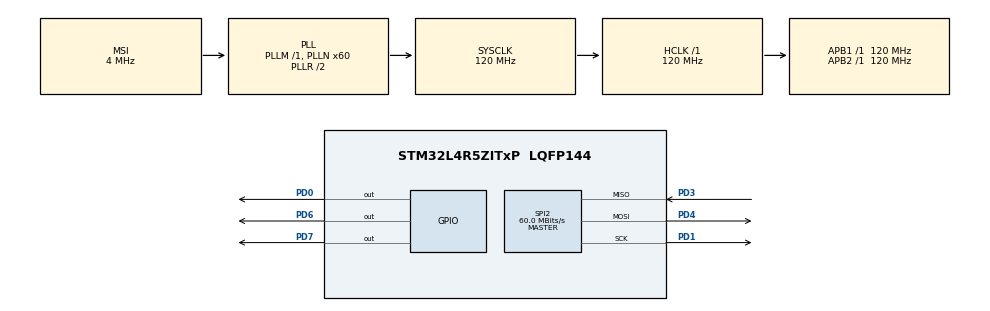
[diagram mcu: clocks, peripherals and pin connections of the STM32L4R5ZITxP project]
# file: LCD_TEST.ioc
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Mcu.Family=STM32L4
Mcu.Name=STM32L4R5ZITxP
Mcu.Package=LQFP144
NVIC.PriorityGroup=NVIC_PRIORITYGROUP_4
PD0.Signal=GPIO_Output
PD1.Mode=Full_Duplex_Master
PD1.Signal=SPI2_SCK
PD3.Mode=Full_Duplex_Master
PD3.Signal=SPI2_MISO
PD4.Mode=Full_Duplex_Master
PD4.Signal=SPI2_MOSI
PD6.Signal=GPIO_Output
PD7.Signal=GPIO_Output
ProjectManager.HeapSize=0x200
ProjectManager.StackSize=0x400
ProjectManager.TargetToolchain=STM32CubeIDE
RCC.ADCFreq_Value=16000000
RCC.AHBFreq_Value=120000000
RCC.APB1Freq_Value=120000000
RCC.APB1TimFreq_Value=120000000
RCC.APB2Freq_Value=120000000
RCC.APB2TimFreq_Value=120000000
RCC.CortexFreq_Value=120000000
RCC.HCLKFreq_Value=120000000
RCC.HSE_VALUE=8000000
RCC.HSI48_VALUE=48000000
RCC.HSI_VALUE=16000000
RCC.LSE_VALUE=32768
RCC.MSI_VALUE=4000000
RCC.PLLN=60
RCC.SYSCLKFreq_VALUE=120000000
RCC.SYSCLKSource=RCC_SYSCLKSOURCE_PLLCLK
RCC.USBFreq_Value=16000000
RCC.VCOOutputFreq_Value=240000000
SPI2.BaudRatePrescaler=SPI_BAUDRATEPRESCALER_2
SPI2.CLKPhase=SPI_PHASE_1EDGE
SPI2.CLKPolarity=SPI_POLARITY_LOW
SPI2.CalculateBaudRate=60.0 MBits/s
SPI2.DataSize=SPI_DATASIZE_8BIT
SPI2.Direction=SPI_DIRECTION_2LINES
SPI2.Mode=SPI_MODE_MASTER
SPI2.VirtualType=VM_MASTER
board=custom

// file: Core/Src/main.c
/* USER CODE BEGIN Header */
/**
  ******************************************************************************
  * @file           : main.c
  * @brief          : Main program body
  ******************************************************************************
  * @attention
  *
  * Copyright (c) 2024 STMicroelectronics.
  * All rights reserved.
  *
  * This software is licensed under terms that can be found in the LICENSE file
  * in the root directory of this software component.
  * If no LICENSE file comes with this software, it is provided AS-IS.
  *
  ******************************************************************************
  */
/* USER CODE END Header */
#include "main.h"

SPI_HandleTypeDef hspi2;

void SystemClock_Config(void);
static void MX_GPIO_Init(void);
static void MX_SPI2_Init(void);

/* USER CODE BEGIN 0 */

/*
//1. Write Command to LCD
void ILI9488_SendCommand(uint8_t com)
{
	//*(__IO uint8_t *)(0x60000000) = com;
	uint8_t tmpCmd = com;
	//Set DC HIGH for COMMAND mode
	//HAL_GPIO_WritePin(tftDC_GPIO, tftDC_PIN, GPIO_PIN_RESET);
	HAL_GPIO_WritePin(GPIOD, GPIO_PIN_6, GPIO_PIN_RESET);
	//Put CS LOW
	HAL_GPIO_WritePin(GPIOD, GPIO_PIN_0, GPIO_PIN_RESET); //CHIP SELECT
	//Write byte using SPI
	HAL_SPI_Transmit(&hspi2, &tmpCmd, 1, 1);
	//SendByte(tmpCmd);
	//WaitLastData();
	HAL_GPIO_WritePin(GPIOD, GPIO_PIN_0, GPIO_PIN_SET);
	HAL_Delay(1);
	//Bring CS HIGH
	//HAL_GPIO_WritePin(tftCS_GPIO, tftCS_PIN, GPIO_PIN_SET);
}

//2. Write data to LCD
void ILI9488_SendData(uint8_t data)
{
	//*(__IO uint8_t *)(0x60000000) = com;
	uint8_t tmpCmd = data;
	//Set DC HIGH for COMMAND mode
	//HAL_GPIO_WritePin(tftDC_GPIO, tftDC_PIN, GPIO_PIN_RESET);
	HAL_GPIO_WritePin(GPIOD, GPIO_PIN_6, GPIO_PIN_SET);
	//Put CS LOW
	HAL_GPIO_WritePin(GPIOD, GPIO_PIN_0, GPIO_PIN_RESET); //CHIP SELECT
	//Write byte using SPI
	HAL_SPI_Transmit(&hspi2, &tmpCmd, 1, 1);
	//SendByte(tmpCmd);
	//WaitLastData();
	HAL_GPIO_WritePin(GPIOD, GPIO_PIN_0, GPIO_PIN_SET);
	//Bring CS HIGH
	//HAL_GPIO_WritePin(tftCS_GPIO, tftCS_PIN, GPIO_PIN_SET);
}
*/
/* USER CODE END 0 */

int main(void)
{

  /* MCU Configuration--------------------------------------------------------*/

  /* Reset of all peripherals, Initializes the Flash interface and the Systick. */
  HAL_Init();

  /* Configure the system clock */
  SystemClock_Config();

  /* Initialize all configured peripherals */
  MX_GPIO_Init();
  MX_SPI2_Init();
  /* USER CODE BEGIN 2 */
/*
  //RESET LCD
	HAL_GPIO_WritePin(GPIOD, GPIO_PIN_7, GPIO_PIN_RESET);
	HAL_Delay(100);
	HAL_GPIO_WritePin(GPIOD, GPIO_PIN_7, GPIO_PIN_SET);
	HAL_Delay(50);

  //BEGIN INIT CODE (ngl don't know whats happening here but hope it works lel)
  	ILI9488_SendCommand(0XF7);
	ILI9488_SendData(0xA9);
	ILI9488_SendData(0x51);
	ILI9488_SendData(0x2C);
	ILI9488_SendData(0x82);
	ILI9488_SendCommand(0xC0);
	ILI9488_SendData(0x11);
	ILI9488_SendData(0x09);
	ILI9488_SendCommand(0xC1);
	ILI9488_SendData(0x41);
	ILI9488_SendCommand(0XC5);
	ILI9488_SendData(0x00);
	ILI9488_SendData(0x0A);
	ILI9488_SendData(0x80);
	ILI9488_SendCommand(0xB1);
	ILI9488_SendData(0xB0);
	ILI9488_SendData(0x11);
	ILI9488_SendCommand(0xB4);
	ILI9488_SendData(0x02);
	ILI9488_SendCommand(0xB6);
	ILI9488_SendData(0x02);
	ILI9488_SendData(0x42);
	ILI9488_SendCommand(0xB7);
	ILI9488_SendData(0xc6);
	ILI9488_SendCommand(0xBE);
	ILI9488_SendData(0x00);
	ILI9488_SendData(0x04);
	ILI9488_SendCommand(0xE9);
	ILI9488_SendData(0x00);
	ILI9488_SendCommand(0x36);
	ILI9488_SendData((1<<3)|(0<<7)|(1<<6)|(1<<5));
	ILI9488_SendCommand(0x3A);
	ILI9488_SendData(0x66);
	ILI9488_SendCommand(0xE0);
	ILI9488_SendData(0x00);
	ILI9488_SendData(0x07);
	ILI9488_SendData(0x10);
	ILI9488_SendData(0x09);
	ILI9488_SendData(0x17);
	ILI9488_SendData(0x0B);
	ILI9488_SendData(0x41);
	ILI9488_SendData(0x89);
	ILI9488_SendData(0x4B);
	ILI9488_SendData(0x0A);
	ILI9488_SendData(0x0C);
	ILI9488_SendData(0x0E);
	ILI9488_SendData(0x18);
	ILI9488_SendData(0x1B);
	ILI9488_SendData(0x0F);
	ILI9488_SendCommand(0XE1);
	ILI9488_SendData(0x00);
	ILI9488_SendData(0x17);
	ILI9488_SendData(0x1A);
	ILI9488_SendData(0x04);
	ILI9488_SendData(0x0E);
	ILI9488_SendData(0x06);
	ILI9488_SendData(0x2F);
	ILI9488_SendData(0x45);
	ILI9488_SendData(0x43);
	ILI9488_SendData(0x02);
	ILI9488_SendData(0x0A);
	ILI9488_SendData(0x09);
	ILI9488_SendData(0x32);
	ILI9488_SendData(0x36);
	ILI9488_SendData(0x0F);
	ILI9488_SendCommand(0x11);
	HAL_Delay(120);
	ILI9488_SendCommand(0x29);
	ILI9488_SendCommand(0x36);
	ILI9488_SendData((1<<3)|(0<<6)|(0<<7));//BGR==1,MY==0,MX==0,MV==0\

  	//SET DIRECTION [HORIZONTAL]
	ILI9488_SendCommand(0x2A); //set window size. x direction. In this case, we're taking the entire display.
	ILI9488_SendData(0>>8);
	ILI9488_SendData(0x00FF&0);
	ILI9488_SendData(479>>8);
	ILI9488_SendData(0x00FF&479>>8);

	ILI9488_SendCommand(0x2B); //set window size. y direction. In this case, we're taking the entire display.
	ILI9488_SendData(0>>8);
	ILI9488_SendData(0x00FF&0);
	ILI9488_SendData(479>>8);
	ILI9488_SendData(0x00FF&479	);

	ILI9488_SendCommand(0x2C); //display ram prep command

	//START WRITING WHITE SCREEN:
	unsigned int i,m;
	HAL_GPIO_WritePin(GPIOD, GPIO_PIN_0, GPIO_PIN_RESET); //LCD CHIP SELECT
	HAL_GPIO_WritePin(GPIOD, GPIO_PIN_7, GPIO_PIN_SET); //SET LCD TO RESET

	for(i=0;i<319;i++)
		{
	    for(m=0;m<479;m++)
	    {
				ILI9488_SendData((0x07FF>>8)&0xF8);//RED
				ILI9488_SendData((0x07FF>>3)&0xFC);//GREEN
				ILI9488_SendData(0x07FF<<3);//BLUE
			}
		}
	HAL_GPIO_WritePin(GPIOD, GPIO_PIN_0, GPIO_PIN_SET); //LCD CHIP SELECT
*/
  ILI9488_Init();
HAL_Delay(1000);
setRotation(1);

  /* USER CODE END 2 */

  /* Infinite loop */
  /* USER CODE BEGIN WHILE */
  while (1)
  {
	//
	  fillScreen(ILI9488_NAVY);
	  HAL_Delay(300);
	   	    	    fillScreen(ILI9488_BLUE);
	   	   	  HAL_Delay(300);
	   	    	    fillScreen(ILI9488_DARKGREEN);
	   	   	  HAL_Delay(300);
	   	    	    fillScreen(ILI9488_MAROON);
	   	   	  HAL_Delay(300);
	   	    	    fillScreen(ILI9488_PURPLE);
	   	   	  HAL_Delay(300);
	   	    	    fillScreen(ILI9488_OLIVE);
	   	   	  HAL_Delay(300);
	   	    	    fillScreen(ILI9488_LIGHTGREY);
	   	   	  HAL_Delay(300);
	   	    	    fillScreen(ILI9488_GREEN);
	   	   	  HAL_Delay(300);
	   	    	  fillScreen(ILI9488_NAVY);
	   	 	  HAL_Delay(300);
	   	    	    	    fillScreen(ILI9488_BLUE);
	   	    	   	  HAL_Delay(300);
	   	    	    	    fillScreen(ILI9488_DARKGREEN);
	   	    	   	  HAL_Delay(300);
	   	    	    	    fillScreen(ILI9488_MAROON);
	   	    	   	  HAL_Delay(300);
	   	    	    	    fillScreen(ILI9488_PURPLE);
	   	    	   	  HAL_Delay(300);
	   	    	    	    fillScreen(ILI9488_OLIVE);
	   	    	   	  HAL_Delay(300);
	   	    	    	    fillScreen(ILI9488_LIGHTGREY);
	   	    	   	  HAL_Delay(300);
	   	    	    	    fillScreen(ILI9488_GREEN);
	   	    	   	  HAL_Delay(300);
	   	    	    	  fillScreen(ILI9488_NAVY);
	   	    	 	  HAL_Delay(300);
	   	    	    	    	    fillScreen(ILI9488_BLUE);
	   	    	    	   	  HAL_Delay(300);
	   	    	    	    	    fillScreen(ILI9488_DARKGREEN);
	   	    	    	   	  HAL_Delay(300);
	   	    	    	    	    fillScreen(ILI9488_MAROON);
	   	    	    	   	  HAL_Delay(300);
	   	    	    	    	    fillScreen(ILI9488_PURPLE);
	   	    	    	   	  HAL_Delay(300);
	   	    	    	    	    fillScreen(ILI9488_OLIVE);
	   	    	    	   	  HAL_Delay(300);
	   	    	    	    	    fillScreen(ILI9488_LIGHTGREY);
	   	    	    	   	  HAL_Delay(300);
	   	    	    	    	    fillScreen(ILI9488_GREEN);
	   	    	    	   	  HAL_Delay(300);
	   	    	    fillRect(0, 10, 480, 10, ILI9488_BLUE);
	   	   	  HAL_Delay(300);
	   	    	    fillRect(0, 40, 480, 10, ILI9488_DARKGREEN);
	   	   	  HAL_Delay(300);
	   	    	    fillRect(0, 60, 480, 10, ILI9488_MAROON);
	   	   	  HAL_Delay(300);
	   	    	    fillRect(0, 80, 480, 10, ILI9488_PURPLE);
	   	   	  HAL_Delay(300);
	   	    	    fillRect(0, 100, 480, 10, ILI9488_OLIVE);
	   	   	  HAL_Delay(300);
	   	    	    fillRect(0, 120, 480, 10, ILI9488_LIGHTGREY);
	   	   	  HAL_Delay(300);
	   	    	    fillRect(0, 140, 480, 10, ILI9488_BLUE);
	   	   	  HAL_Delay(300);
	   	    	    fillRect(460, 220, 20, 100, ILI9488_BLUE);
	   	   	  HAL_Delay(300);

    /* USER CODE END WHILE */

  }
}

void SystemClock_Config(void)
{
  RCC_OscInitTypeDef RCC_OscInitStruct = {0};
  RCC_ClkInitTypeDef RCC_ClkInitStruct = {0};

  /** Configure the main internal regulator output voltage
  */
  if (HAL_PWREx_ControlVoltageScaling(PWR_REGULATOR_VOLTAGE_SCALE1_BOOST) != HAL_OK)
  {
    Error_Handler();
  }

  /** Initializes the RCC Oscillators according to the specified parameters
  * in the RCC_OscInitTypeDef structure.
  */
  RCC_OscInitStruct.OscillatorType = RCC_OSCILLATORTYPE_MSI;
  RCC_OscInitStruct.MSIState = RCC_MSI_ON;
  RCC_OscInitStruct.MSICalibrationValue = 0;
  RCC_OscInitStruct.MSIClockRange = RCC_MSIRANGE_6;
  RCC_OscInitStruct.PLL.PLLState = RCC_PLL_ON;
  RCC_OscInitStruct.PLL.PLLSource = RCC_PLLSOURCE_MSI;
  RCC_OscInitStruct.PLL.PLLM = 1;
  RCC_OscInitStruct.PLL.PLLN = 60;
  RCC_OscInitStruct.PLL.PLLP = RCC_PLLP_DIV2;
  RCC_OscInitStruct.PLL.PLLQ = RCC_PLLQ_DIV2;
  RCC_OscInitStruct.PLL.PLLR = RCC_PLLR_DIV2;
  if (HAL_RCC_OscConfig(&RCC_OscInitStruct) != HAL_OK)
  {
    Error_Handler();
  }

  /** Initializes the CPU, AHB and APB buses clocks
  */
  RCC_ClkInitStruct.ClockType = RCC_CLOCKTYPE_HCLK|RCC_CLOCKTYPE_SYSCLK
                              |RCC_CLOCKTYPE_PCLK1|RCC_CLOCKTYPE_PCLK2;
  RCC_ClkInitStruct.SYSCLKSource = RCC_SYSCLKSOURCE_PLLCLK;
  RCC_ClkInitStruct.AHBCLKDivider = RCC_SYSCLK_DIV1;
  RCC_ClkInitStruct.APB1CLKDivider = RCC_HCLK_DIV1;
  RCC_ClkInitStruct.APB2CLKDivider = RCC_HCLK_DIV1;

  if (HAL_RCC_ClockConfig(&RCC_ClkInitStruct, FLASH_LATENCY_5) != HAL_OK)
  {
    Error_Handler();
  }
}

static void MX_SPI2_Init(void)
{

  /* SPI2 parameter configuration*/
  hspi2.Instance = SPI2;
  hspi2.Init.Mode = SPI_MODE_MASTER;
  hspi2.Init.Direction = SPI_DIRECTION_2LINES;
  hspi2.Init.DataSize = SPI_DATASIZE_8BIT;
  hspi2.Init.CLKPolarity = SPI_POLARITY_LOW;
  hspi2.Init.CLKPhase = SPI_PHASE_1EDGE;
  hspi2.Init.NSS = SPI_NSS_SOFT;
  hspi2.Init.BaudRatePrescaler = SPI_BAUDRATEPRESCALER_2;
  hspi2.Init.FirstBit = SPI_FIRSTBIT_MSB;
  hspi2.Init.TIMode = SPI_TIMODE_DISABLE;
  hspi2.Init.CRCCalculation = SPI_CRCCALCULATION_DISABLE;
  hspi2.Init.CRCPolynomial = 7;
  hspi2.Init.CRCLength = SPI_CRC_LENGTH_DATASIZE;
  hspi2.Init.NSSPMode = SPI_NSS_PULSE_ENABLE;
  if (HAL_SPI_Init(&hspi2) != HAL_OK)
  {
    Error_Handler();
  }

}

static void MX_GPIO_Init(void)
{
  GPIO_InitTypeDef GPIO_InitStruct = {0};

  /* GPIO Ports Clock Enable */
  __HAL_RCC_GPIOD_CLK_ENABLE();

  /*Configure GPIO pin Output Level */
  HAL_GPIO_WritePin(GPIOD, GPIO_PIN_0|GPIO_PIN_6|GPIO_PIN_7, GPIO_PIN_RESET);

  /*Configure GPIO pins : PD0 PD6 PD7 */
  GPIO_InitStruct.Pin = GPIO_PIN_0|GPIO_PIN_6|GPIO_PIN_7;
  GPIO_InitStruct.Mode = GPIO_MODE_OUTPUT_PP;
  GPIO_InitStruct.Pull = GPIO_NOPULL;
  GPIO_InitStruct.Speed = GPIO_SPEED_FREQ_LOW;
  HAL_GPIO_Init(GPIOD, &GPIO_InitStruct);

}

void Error_Handler(void)
{
  __disable_irq();
  while (1)
  {
  }
}
